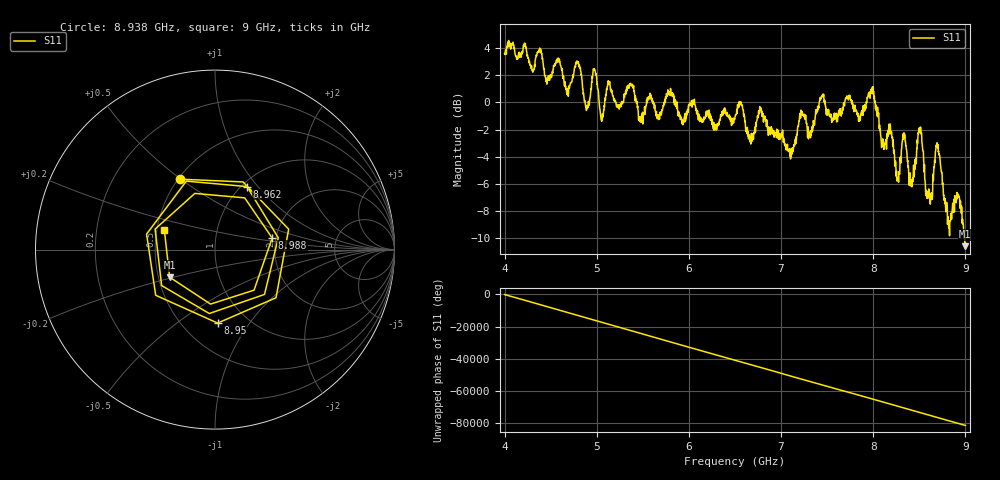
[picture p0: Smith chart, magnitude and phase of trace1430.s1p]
! Created with skrf 1.8.0 (http://scikit-rf.org).
# Hz S RI R 50.0
!freq ReS11 ImS11
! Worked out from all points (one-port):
!   1601 points, 4 GHz to 9 GHz, reference 50 ohm
!   lowest |S11| = -10.6 dB at 8.997 GHz (marker M1), VSWR 1.84, Z = 28.6 - j9.65 ohm
!   |S11| at or under -10 dB: 8.990295 GHz to end of sweep
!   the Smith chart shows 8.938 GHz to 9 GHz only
!   S11 on the Smith chart (normalised r, x): 8.938 GHz: 0.51, +0.49; 8.95 GHz: 0.73, -0.72; 8.962 GHz: 1.06, +0.88; 8.988 GHz: 1.91, +0.28; 9 GHz: 0.55, +0.13
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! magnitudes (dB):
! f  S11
! 4 GHz  3.6
! 4.625 GHz  2.3
! 5.25 GHz  -0.4
! 5.366 GHz  1.4
! 5.478 GHz  -1.4
! 5.875 GHz  -0.4
! 6.5 GHz  -1.1
! 7.125 GHz  -3.4
! 7.225 GHz  -0.7
! 7.309 GHz  -2.5
! 7.438 GHz  0.3
! 7.75 GHz  0.3
! 7.994 GHz  0.7
! 8.194 GHz  -2.3
! 8.259 GHz  -5.7
! 8.331 GHz  -2.3
! 8.375 GHz  -4.3
! 8.428 GHz  -5.6
! 8.503 GHz  -2.2
! 8.594 GHz  -7.0
! 8.697 GHz  -3.2
! 8.812 GHz  -8.6
! 8.938 GHz  -7.1
! 8.95 GHz  -7.8
! 8.962 GHz  -8.1
! 8.988 GHz  -9.8
! 8.997 GHz  -10.6
! 9 GHz  -10.4
